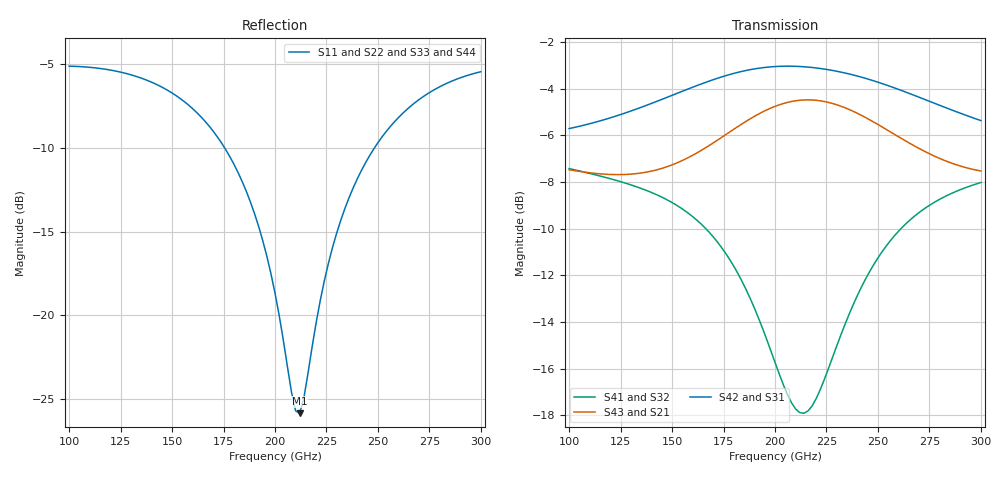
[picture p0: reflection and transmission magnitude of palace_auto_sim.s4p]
#  GHZ S DB R 50
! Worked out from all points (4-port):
!   101 points, 100 GHz to 300 GHz, reference 50 ohm
!   strongest paths, dB at 100 GHz, 150 GHz, 200 GHz, 250 GHz, 300 GHz:
!     S42: -5.7, -4.3, -3.1, -3.7, -5.4
!     S31: -5.7, -4.3, -3.1, -3.7, -5.4
!     S43: -7.5, -7.3, -4.8, -5.5, -7.5
!     S21: -7.5, -7.3, -4.8, -5.5, -7.5
!     S41: -7.4, -8.9, -15.7, -11.3, -8.0
!     S32: -7.4, -8.9, -15.7, -11.3, -8.0
!   lowest |S11| = -25.9 dB at 212 GHz (marker M1), VSWR 1.11, Z = 55 - j1.76 ohm
!   |S11| at or under -10 dB: 175.5 GHz to 248.3 GHz (72.79 GHz wide, 34.3 % of centre)
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100  -5.12 157.6  -7.48 -49.4  -5.72 -79.1  -7.43 -61.8
     -7.48 -49.4  -5.12 157.7  -7.43 -61.8  -5.72 -79.1
     -5.72 -79.1  -7.43 -61.8  -5.12 157.7  -7.48 -49.4
     -7.43 -61.8  -5.72 -79.1  -7.48 -49.4  -5.12 157.6
174  -9.70 105.2  -6.10 -71.3  -3.51 -145.7  -10.81 -111.4
     -6.10 -71.3  -9.72 105.2  -10.80 -111.4  -3.50 -145.8
     -3.51 -145.7  -10.80 -111.4  -9.71 105.3  -6.10 -71.3
     -10.81 -111.4  -3.50 -145.8  -6.10 -71.3  -9.72 105.2
194  -15.52 78.4  -5.00 -84.3  -3.11 -168.2  -14.29 -120.0
     -5.00 -84.3  -15.58 78.3  -14.28 -120.0  -3.11 -168.2
     -3.11 -168.2  -14.28 -120.0  -15.55 78.6  -5.00 -84.3
     -14.29 -120.0  -3.11 -168.2  -5.00 -84.3  -15.57 78.4
212  -25.87 -18.3  -4.50 -99.6  -3.06 171.1  -17.89 -99.6
     -4.50 -99.6  -25.84 -19.7  -17.89 -99.7  -3.06 171.0
     -3.06 171.1  -17.89 -99.7  -25.96 -18.7  -4.50 -99.7
     -17.89 -99.6  -3.06 171.0  -4.50 -99.7  -25.92 -19.5
226  -16.87 -92.2  -4.60 -112.1  -3.19 155.1  -15.99 -75.9
     -4.60 -112.1  -16.79 -92.4  -16.00 -75.9  -3.19 155.1
     -3.19 155.1  -16.00 -75.9  -16.86 -92.4  -4.60 -112.1
     -15.99 -75.9  -3.19 155.1  -4.60 -112.1  -16.82 -92.6
242  -11.35 -115.6  -5.15 -125.0  -3.51 137.5  -12.51 -74.8
     -5.15 -125.0  -11.31 -115.6  -12.52 -74.7  -3.51 137.4
     -3.51 137.5  -12.52 -74.7  -11.34 -115.6  -5.15 -125.0
     -12.51 -74.8  -3.51 137.4  -5.15 -125.0  -11.32 -115.8
300  -5.45 -161.8  -7.53 -150.2  -5.37 81.9  -8.03 -114.6
     -7.53 -150.2  -5.44 -161.7  -8.03 -114.5  -5.37 81.8
     -5.37 81.9  -8.03 -114.5  -5.45 -161.8  -7.53 -150.2
     -8.03 -114.6  -5.37 81.8  -7.53 -150.2  -5.44 -161.9
